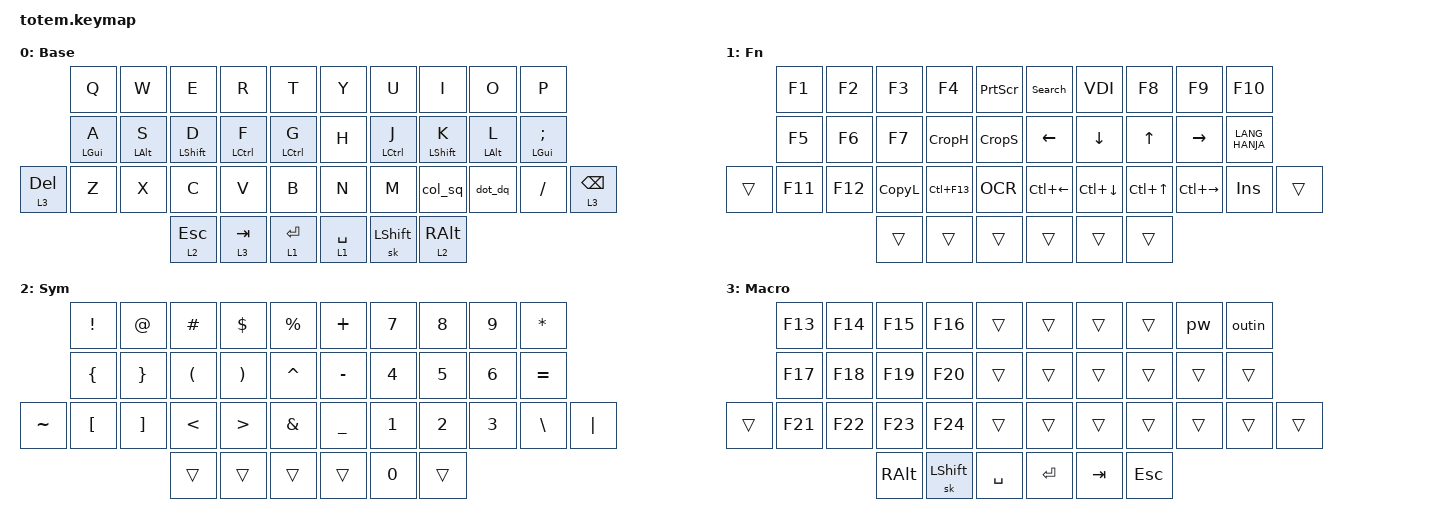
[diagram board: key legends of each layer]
//
//                                                        ▀▀▀▀▀     ▀▀▀▀▀          ▀▀█▀▀
//                                                        ▄▀▀▀▄  ▄  ▄▀▀▀▄  ▄  ▄▀▀▀▄  █  ▄▀▀▀▄
//                                                        █   █  █  █   █  █  █   █  █  █   █
//                                                         ▀▀▀   █   ▀▀▀   █   ▀▀▀   ▀   ▀▀▀
//                                                               █      ▄▄▄█▄▄▄    █   █  
//                                                               ▀      █  █  █     █▄█
//                                                             ▀▀▀▀▀    █  █  █      ▀
//                                                                      ▀  ▀  ▀
//
// ▄▄▄▄▄▄▄▄▄▄▄▄▄▄▄▄▄▄▄▄▄▄▄▄▄▄▄▄▄▄▄▄▄▄▄▄▄▄▄▄▄▄▄▄▄▄▄▄▄▄▄▄▄▄▄▄▄▄▄▄▄▄▄▄▄▄▄▄▄▄▄▄▄▄▄▄▄▄▄▄▄▄▄▄▄▄▄▄▄▄▄▄▄▄▄▄▄▄▄▄▄▄▄▄▄▄▄▄▄▄▄▄▄▄▄▄▄▄▄▄▄▄▄▄▄▄▄▄▄▄▄▄▄▄▄▄▄▄▄▄▄▄▄▄▄▄▄▄▄

#include <behaviors.dtsi>
#include <dt-bindings/zmk/keys.h>

// #define Base        0
// #define Nav         1
// #define Sym         2
// #define Fun         3
// #define Game        4
// #define Gameplus    5

&mt {
    quick-tap-ms = <100>;
    global-quick-tap;
    flavor = "tap-preferred";
    tapping-term-ms = <170>;
};

&lt {
    tapping-term-ms = <240>;
    flavor = "balanced";
    quick-tap-ms = <150>;
};

/ {
    behaviors {
        hm: homerow_mods {
            compatible = "zmk,behavior-hold-tap";
            label = "HOMEROW_MODS";
            #binding-cells = <2>;
            flavor = "tap-preferred";
            tapping-term-ms = <200>;
            quick-tap-ms = <125>;
            global-quick-tap;
            bindings = <&kp>, <&kp>;
        };

        col_sq: col_sq {
            compatible = "zmk,behavior-mod-morph";
            label = "COL_SQ";
            bindings = <&kp COMMA>, <&kp SINGLE_QUOTE>;

            #binding-cells = <0>;
            mods = <(MOD_LSFT|MOD_RSFT)>;
        };

        dot_dq: dot_dq {
            compatible = "zmk,behavior-mod-morph";
            label = "DOT_DQ";
            bindings = <&kp DOT>, <&kp DOUBLE_QUOTES>;

            #binding-cells = <0>;
            mods = <(MOD_LSFT|MOD_RSFT)>;
        };
    };

    combos {
        compatible = "zmk,combos";

        Back {
            bindings = <&kp LA(LEFT)>;
            key-positions = <1 2>;
            layers = <0>;
        };

        Forward {
            bindings = <&kp LA(RIGHT)>;
            key-positions = <2 3>;
            layers = <0>;
        };

        LeftDesktop {
            bindings = <&DeskL>;
            key-positions = <11 12>;
            layers = <0>;
        };

        RightDesktop {
            bindings = <&DeskR>;
            key-positions = <12 13>;
            layers = <0>;
        };

        MoveLeft {
            bindings = <&MoveL>;
            key-positions = <22 23>;
            layers = <0>;
        };

        MoveRight {
            bindings = <&MoveR>;
            key-positions = <23 24>;
            layers = <0>;
        };

        Home {
            bindings = <&kp HOME>;
            key-positions = <6 7>;
            layers = <0>;
        };

        End {
            bindings = <&kp END>;
            key-positions = <27 28>;
            layers = <0>;
        };

        PgUp {
            bindings = <&kp PAGE_UP>;
            key-positions = <7 8>;
            layers = <0>;
        };

        PgDn {
            bindings = <&kp PAGE_DOWN>;
            key-positions = <17 18>;
            layers = <0>;
        };

        HanEng {
            bindings = <&kp LANG_HANGEUL>;
            key-positions = <16 17>;
            layers = <0>;
        };

        Grave {
            bindings = <&kp GRAVE>;
            key-positions = <28 29>;
            layers = <0>;
        };
    };

    macros {
        CopyL: CopyL {
            compatible = "zmk,behavior-macro";
            #binding-cells = <0>;
            bindings = <&kp HOME &kp LS(END) &kp LC(C)>;
            label = "CopyL";
        };

        outin: outin {
            compatible = "zmk,behavior-macro";
            #binding-cells = <0>;
            bindings = <&kp LC(LEFT_ALT) &kp LG(L) &kp LC(LA(DELETE))>;
            label = "outin";
        };

        pw: pw {
            compatible = "zmk,behavior-macro";
            #binding-cells = <0>;
            bindings = <&kp S &kp M &kp L &kp F &kp F &kp L &kp F &kp K &kp N0 &kp MINUS &kp RET>;
            label = "pw";
        };

        VDI: VDI {
            compatible = "zmk,behavior-macro";
            #binding-cells = <0>;
            bindings = <&kp F24 &kp LC(LALT)>;
            label = "VDI";
        };

        PrtScr: PrtScr {
            compatible = "zmk,behavior-macro";
            #binding-cells = <0>;
            bindings = <&kp LC(LEFT_ALT) &kp PRINTSCREEN>;
            label = "PrtScr";
        };

        OCR: OCR {
            compatible = "zmk,behavior-macro";
            #binding-cells = <0>;
            bindings = <&kp LC(LEFT_ALT) &kp LG(LS(T))>;
            label = "OCR";
        };

        CropS: CropS {
            compatible = "zmk,behavior-macro";
            #binding-cells = <0>;
            bindings = <&kp LC(LEFT_ALT) &kp LG(LC(LS(T)))>;
            label = "CropS";
        };

        CropH: CropH {
            compatible = "zmk,behavior-macro";
            #binding-cells = <0>;
            bindings = <&kp LC(LEFT_ALT) &kp LG(LC(LS(S)))>;
            label = "CropH";
        };

        Search: Search {
            compatible = "zmk,behavior-macro";
            #binding-cells = <0>;
            bindings = <&kp LC(LEFT_ALT) &kp LG(LA(SPACE))>;
            label = "Search";
        };

        DeskL: DeskL {
            compatible = "zmk,behavior-macro";
            #binding-cells = <0>;
            bindings = <&kp LC(LEFT_ALT) &kp LG(LC(LEFT))>;
            label = "DeskL";
        };

        DeskR: DeskR {
            compatible = "zmk,behavior-macro";
            #binding-cells = <0>;
            bindings = <&kp LC(LEFT_ALT) &kp LG(LC(RIGHT))>;
            label = "DeskR";
        };

        MoveL: MoveL {
            compatible = "zmk,behavior-macro";
            #binding-cells = <0>;
            bindings = <&kp LC(LEFT_ALT) &kp LG(LC(LS(LEFT)))>;
            label = "MoveL";
        };

        MoveR: MoveR {
            compatible = "zmk,behavior-macro";
            #binding-cells = <0>;
            bindings = <&kp LC(LEFT_ALT) &kp LG(LC(LS(RIGHT)))>;
            label = "MoveR";
        };
    };

    keymap {
        compatible = "zmk,keymap";

        Base {
            bindings = <
           &kp Q       &kp W       &kp E         &kp R        &kp T          &kp Y        &kp U        &kp I        &kp O       &kp P
           &hm LGUI A  &hm LALT S  &hm LSHIFT D  &hm LCTRL F  &hm LCTRL G    &kp H        &hm LCTRL J  &hm LSHFT K  &hm LALT L  &hm LGUI SEMICOLON
&lt 3 DEL  &kp Z       &kp X       &kp C         &kp V        &kp B          &kp N        &kp M        &col_sq      &dot_dq     &kp SLASH           &lt 3 BACKSPACE
                                   &lt 2 ESC     &lt 3 TAB    &lt 1 ENTER    &lt 1 SPACE  &sk LSHIFT   &lt 2 RALT
            >;

            label = "Base";
        };

        Expansion {
            bindings = <
        &kp F1   &kp F2   &kp F3  &kp F4       &PrtScr    &Search       &VDI          &kp F8      &kp F9         &kp F10
        &kp F5   &kp F6   &kp F7  &CropH       &CropS     &kp LEFT      &kp DOWN      &kp UP      &kp RIGHT      &kp LANG_HANJA
&trans  &kp F11  &kp F12  &CopyL  &kp LC(F13)  &OCR       &kp LC(LEFT)  &kp LC(DOWN)  &kp LC(UP)  &kp LC(RIGHT)  &kp INS         &trans
                          &trans  &trans       &trans     &trans        &trans        &trans
            >;

            label = "Fn";
        };

        Symbols {
            bindings = <
           &kp EXCL          &kp AT             &kp HASH              &kp DOLLAR             &kp PERCENT    &kp PLUS   &kp NUMBER_7  &kp NUMBER_8  &kp NUMBER_9  &kp STAR
           &kp LEFT_BRACE    &kp RIGHT_BRACE    &kp LEFT_PARENTHESIS  &kp RIGHT_PARENTHESIS  &kp CARET      &kp MINUS  &kp NUMBER_4  &kp NUMBER_5  &kp NUMBER_6  &kp EQUAL
&kp TILDE  &kp LEFT_BRACKET  &kp RIGHT_BRACKET  &kp LESS_THAN         &kp GREATER_THAN       &kp AMPS       &kp UNDER  &kp NUMBER_1  &kp NUMBER_2  &kp NUMBER_3  &kp BACKSLASH  &kp PIPE
                                                &trans                &trans                 &trans         &trans     &kp N0        &trans
            >;

            label = "Sym";
        };

        Macro {
            bindings = <
        &kp F13  &kp F14  &kp F15   &kp F16    &trans       &trans     &trans   &trans   &pw     &outin
        &kp F17  &kp F18  &kp F19   &kp F20    &trans       &trans     &trans   &trans   &trans  &trans
&trans  &kp F21  &kp F22  &kp F23   &kp F24    &trans       &trans     &trans   &trans   &trans  &trans  &trans
                          &kp RALT  &sk LSHFT  &kp SPACE    &kp ENTER  &kp TAB  &kp ESC
            >;

            label = "Macro";
        };
    };
};
